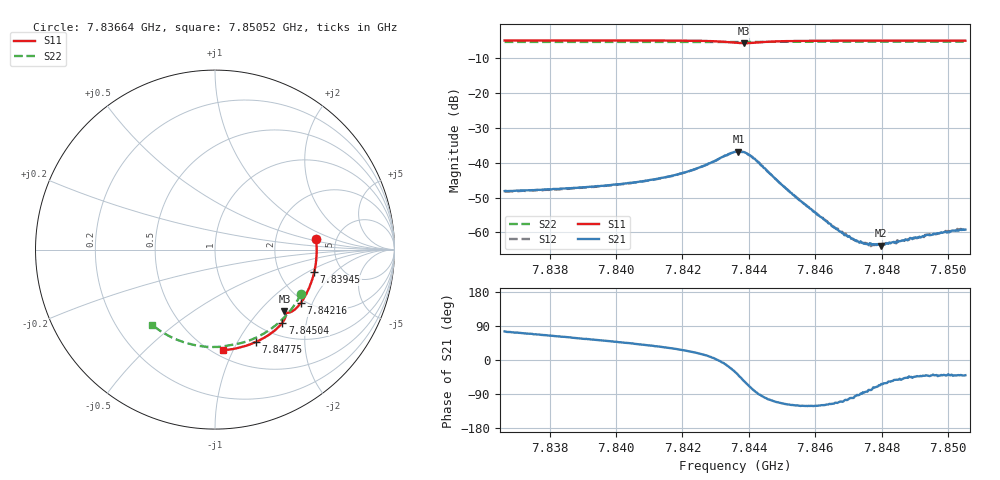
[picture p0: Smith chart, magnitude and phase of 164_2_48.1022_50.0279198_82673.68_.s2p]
#  HZ  S  RI  R  50.00
! Rohde & Schwarz Vector Network Analyzer
! Rohde-Schwarz,ZNB20-2Port,1311601062101988,3.16
! Created: UTC 12/23/2023, 3:51:05 AM
! freq[Hz]  re:S11  im:S11  re:S21  im:S21  re:S12  im:S12  re:S22  im:S22
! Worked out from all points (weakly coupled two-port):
!   401 points, 7.83664 GHz to 7.85052 GHz, reference 50 ohm
!   highest |S21| = -36.79 dB at 7.84369 GHz (marker M1); lowest = -63.8 dB at 7.84799 GHz (marker M2)
!   lowest |S11| = -5.7 dB at 7.84386 GHz (marker M3), VSWR 3.14, Z = 74.1 - j69.5 ohm
!   |S11| at or under -10 dB: nowhere
!   |S22| runs from -5.4 to -5.3 dB; largest |S21 - S12| = 0.00033
!   S11 on the Smith chart (normalised r, x): 7.83664 GHz: 3.49, +0.61; 7.83945 GHz: 3.14, -1.17; 7.84216 GHz: 1.89, -1.65; 7.84504 GHz: 1.25, -1.47; 7.84775 GHz: 0.79, -1.19; 7.85052 GHz: 0.56, -0.92
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7.836641e9  0.5628 0.0596  0.000996 0.00379  0.00105 0.00368  0.479 -0.248
7.838966e9  0.559 -0.0948  0.00244 0.00368  0.0024 0.00364  0.3841 -0.3798
7.839452e9  0.5524 -0.1267  0.0028 0.00368  0.00275 0.00366  0.3595 -0.4034
7.841291e9  0.5102 -0.2444  0.00483 0.00344  0.00477 0.00343  0.2543 -0.4777
7.842159e9  0.4779 -0.2973  0.00686 0.00299  0.0068 0.00303  0.1991 -0.5034
7.843061e9  0.4278 -0.3451  0.0111 7.88e-06  0.0111 8.23e-05  0.1383 -0.5224
7.843582e9  0.3917 -0.3502  0.0122 -0.00749  0.0122 -0.0074  0.1035 -0.529
7.843686e9  0.3877 -0.3476  0.011 -0.0094  0.0112 -0.00924  0.0969 -0.5302
7.84386e9  0.3867 -0.3434  0.00789 -0.0118  0.008 -0.0116  0.0859 -0.5322
7.844172e9  0.3935 -0.35  0.00159 -0.0113  0.00176 -0.0112  0.0657 -0.5361
7.84504e9  0.376 -0.4062  -0.00194 -0.00416  -0.00195 -0.00416  0.00543 -0.5425
7.845907e9  0.3328 -0.4506  -0.00108 -0.00179  -0.00111 -0.0018  -0.056 -0.5407
7.846567e9  0.2959 -0.4777  -0.000498 -0.00107  -0.000521 -0.00108  -0.1016 -0.5344
7.846914e9  0.2757 -0.4903  -0.000235 -0.00088  -0.000252 -0.000932  -0.1257 -0.5295
7.847261e9  0.2552 -0.5014  -2.73e-05 -0.000758  -5.61e-05 -0.000742  -0.1495 -0.5236
7.847538e9  0.2384 -0.5098  7.69e-05 -0.000677  0.0001 -0.000694  -0.1681 -0.5179
7.847747e9  0.2258 -0.5157  0.000207 -0.000646  0.000175 -0.000636  -0.182 -0.5134
7.84799e9  0.2107 -0.5221  0.00029 -0.000574  0.000305 -0.000604  -0.198 -0.5076
7.848232e9  0.1955 -0.528  0.000396 -0.0006  0.000378 -0.000592  -0.2139 -0.5013
7.849135e9  0.1379 -0.5458  0.000632 -0.000593  0.000627 -0.000565  -0.2705 -0.4736
7.849378e9  0.1223 -0.5494  0.000696 -0.000604  0.000711 -0.000597  -0.2855 -0.4652
7.850523e9  0.047 -0.5603  0.000836 -0.000707  0.00086 -0.000703  -0.3508 -0.4188
